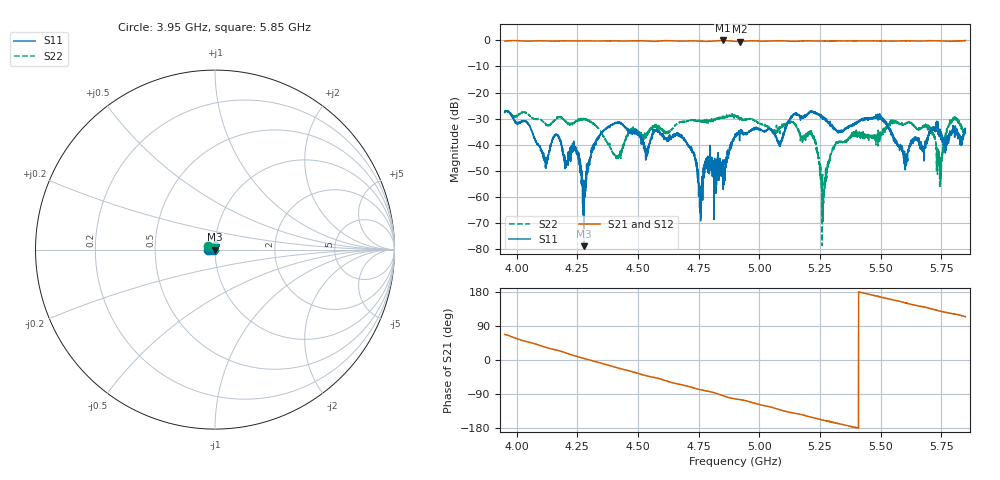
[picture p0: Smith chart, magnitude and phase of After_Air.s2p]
# GHZ S RI R 50.000000000000
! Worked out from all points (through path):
!   4501 points, 3.95 GHz to 5.85 GHz, reference 50 ohm
!   highest |S21| = -0.01 dB at 4.851 GHz (marker M1); lowest = -0.4 dB at 4.919 GHz (marker M2)
!   group delay of S21, straight-line fit = 452 ps
!   lowest |S11| = -79.0 dB at 4.277 GHz (marker M3), VSWR 1.00, Z = 50 + j0.00883 ohm
!   |S11| at or under -10 dB: start of sweep to end of sweep
!   |S22| runs from -78.7 to -26.9 dB; largest |S21 - S12| = 0.047
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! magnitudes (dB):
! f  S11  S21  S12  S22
! 3.95 GHz  -27.7  -0.2  -0.3  -27.6
! 4.119 GHz  -48.0  -0.2  -0.2  -32.1
! 4.239 GHz  -40.9  -0.2  -0.2  -31.4
! 4.267 GHz  -53.6  -0.2  -0.2  -30.4
! 4.277 GHz  -79.0  -0.2  -0.2  -30.0
! 4.369 GHz  -33.8  -0.2  -0.2  -38.6
! 4.584 GHz  -34.7  -0.3  -0.3  -32.9
! 4.72 GHz  -41.2  -0.2  -0.2  -30.8
! 4.759 GHz  -68.0  -0.3  -0.3  -31.0
! 4.782 GHz  -45.2  -0.4  -0.4  -30.7
! 4.851 GHz  -45.8  0.0  0.0  -29.0
! 4.9 GHz  -35.9  -0.3  -0.3  -29.0
! 4.919 GHz  -38.5  -0.4  -0.4  -30.5
! 5.217 GHz  -27.5  -0.2  -0.2  -36.7
! 5.264 GHz  -29.6  -0.2  -0.2  -62.6
! 5.318 GHz  -34.6  -0.2  -0.2  -38.9
! 5.534 GHz  -33.6  -0.2  -0.2  -32.4
! 5.603 GHz  -46.1  -0.2  -0.2  -32.0
! 5.701 GHz  -35.1  -0.1  -0.1  -33.6
! 5.744 GHz  -35.5  -0.2  -0.2  -50.9
! 5.793 GHz  -34.7  -0.3  -0.4  -30.8
! 5.85 GHz  -33.9  -0.1  -0.1  -35.5
